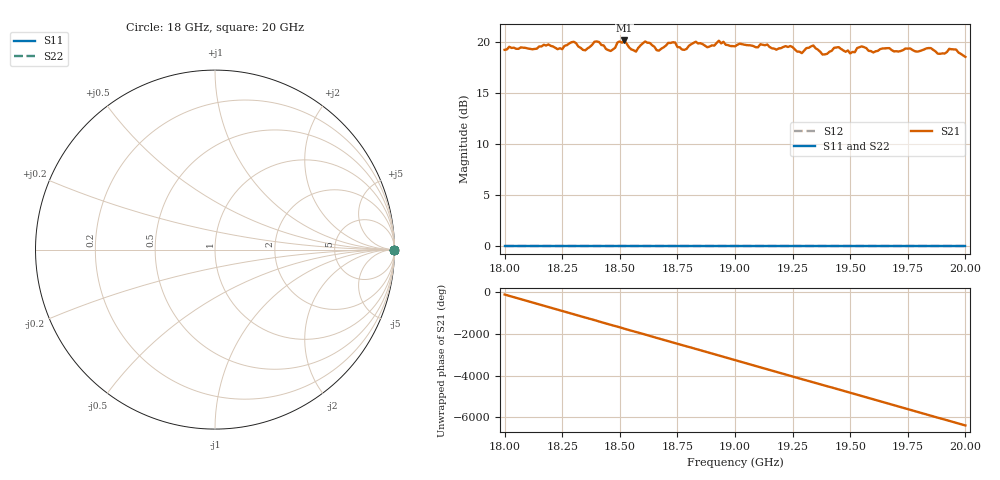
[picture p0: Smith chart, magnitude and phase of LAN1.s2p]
!Agilent N9918A: A.07.57
!Date: Tuesday, 28 July 2020 14:43:18
!Timezone: (GMT-08:00) Pacific Time (US & Canada)
!Model: N9918A
!Serial: MY53103598
!GPS Latitude:
!GPS Longitude:
!GPS TimeStamp: 0001-01-01 00:00:00Z
!GPS Seconds Since Last Read: 0
!CHECKSUM:0012603109
!Correction: S11()S21(Rdy)S12()S22()
!S2P File: Measurements:S11,S21,S12,S22:
# Hz S DB R 50
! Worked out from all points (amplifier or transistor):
!   201 points, 18 GHz to 20 GHz, reference 50 ohm
!   highest |S21| = 20.2 dB at 18.52 GHz (marker M1)
!   |S21| within 3 dB of that: start of sweep to end of sweep
!   unconditionally stable (mu >= 1): nowhere
!   at 18.33 GHz: K = 4.22, MSG = 9.7 dB, |S12| = 0.0 dB
!   at 19 GHz: K = 3.78, MSG = 9.8 dB, |S12| = 0.0 dB
!   at 20 GHz: K = 4.37, MSG = 9.3 dB, |S12| = 0.0 dB
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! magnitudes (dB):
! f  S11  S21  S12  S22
! 18 GHz  0.0  19.2  0.0  0.0
! 18.25 GHz  0.0  19.3  0.0  0.0
! 18.3 GHz  0.0  20.0  0.0  0.0
! 18.34 GHz  0.0  19.2  0.0  0.0
! 18.4 GHz  0.0  20.1  0.0  0.0
! 18.46 GHz  0.0  19.1  0.0  0.0
! 18.52 GHz  0.0  20.2  0.0  0.0
! 18.57 GHz  0.0  19.1  0.0  0.0
! 18.61 GHz  0.0  20.1  0.0  0.0
! 18.67 GHz  0.0  19.2  0.0  0.0
! 18.73 GHz  0.0  20.0  0.0  0.0
! 18.78 GHz  0.0  19.2  0.0  0.0
! 18.83 GHz  0.0  20.0  0.0  0.0
! 19 GHz  0.0  19.6  0.0  0.0
! 19.24 GHz  0.0  19.6  0.0  0.0
! 19.29 GHz  0.0  18.9  0.0  0.0
! 19.34 GHz  0.0  19.7  0.0  0.0
! 19.38 GHz  0.0  18.8  0.0  0.0
! 19.45 GHz  0.0  19.5  0.0  0.0
! 19.67 GHz  0.0  19.4  0.0  0.0
! 19.96 GHz  0.0  19.3  0.0  0.0
! 20 GHz  0.0  18.6  0.0  0.0
